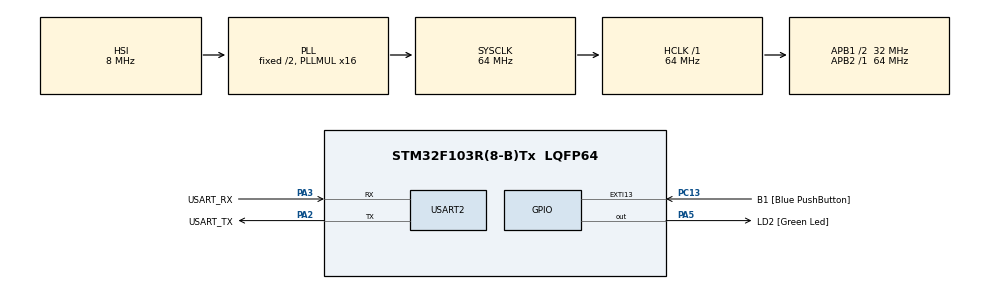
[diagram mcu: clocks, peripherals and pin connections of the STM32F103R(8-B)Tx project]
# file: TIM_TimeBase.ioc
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Mcu.Family=STM32F1
Mcu.Name=STM32F103R(8-B)Tx
Mcu.Package=LQFP64
NVIC.EXTI15_10_IRQn=true\:0\:0\:false\:false\:true\:true\:true\:true
NVIC.PriorityGroup=NVIC_PRIORITYGROUP_4
NVIC.TIM3_IRQn=true\:0\:0\:false\:false\:true\:true\:true\:true
PA13.GPIO_Label=TMS
PA13.Mode=Serial_Wire
PA13.Signal=SYS_JTMS-SWDIO
PA14.GPIO_Label=TCK
PA14.Mode=Serial_Wire
PA14.Signal=SYS_JTCK-SWCLK
PA2.GPIO_Label=USART_TX
PA2.GPIO_Mode=GPIO_MODE_AF_PP
PA2.GPIO_PuPd=GPIO_NOPULL
PA2.GPIO_Speed=GPIO_SPEED_FREQ_LOW
PA2.Mode=Asynchronous
PA2.Signal=USART2_TX
PA3.GPIO_Label=USART_RX
PA3.GPIO_Mode=GPIO_MODE_INPUT
PA3.GPIO_PuPd=GPIO_NOPULL
PA3.Mode=Asynchronous
PA3.Signal=USART2_RX
PA5.GPIO_Label=LD2 [Green Led]
PA5.GPIO_ModeDefaultOutputPP=GPIO_MODE_OUTPUT_PP
PA5.GPIO_PuPd=GPIO_NOPULL
PA5.GPIO_Speed=GPIO_SPEED_FREQ_LOW
PA5.Signal=GPIO_Output
PB3.GPIO_Label=SWO
PB3.Signal=SYS_JTDO-TRACESWO
PC13-TAMPER-RTC.GPIO_Label=B1 [Blue PushButton]
PC13-TAMPER-RTC.GPIO_PuPd=GPIO_NOPULL
PC13-TAMPER-RTC.Signal=GPXTI13
PC14-OSC32_IN.Mode=LSE-External-Oscillator
PC14-OSC32_IN.Signal=RCC_OSC32_IN
PC15-OSC32_OUT.Mode=LSE-External-Oscillator
PC15-OSC32_OUT.Signal=RCC_OSC32_OUT
PD0-OSC_IN.Mode=HSE-External-Clock-Source
PD0-OSC_IN.Signal=RCC_OSC_IN
PD1-OSC_OUT.Mode=HSE-External-Clock-Source
PD1-OSC_OUT.Signal=RCC_OSC_OUT
ProjectManager.HeapSize=0x200
ProjectManager.StackSize=0x400
ProjectManager.TargetToolchain=STM32CubeIDE
RCC.AHBFreq_Value=64000000
RCC.APB1CLKDivider=RCC_HCLK_DIV2
RCC.APB1Freq_Value=32000000
RCC.APB1TimFreq_Value=64000000
RCC.APB2Freq_Value=64000000
RCC.APB2TimFreq_Value=64000000
RCC.HCLKFreq_Value=64000000
RCC.PLLMUL=RCC_PLL_MUL16
RCC.RTCClockSelection=RCC_RTCCLKSOURCE_LSE
RCC.SYSCLKFreq_VALUE=64000000
RCC.SYSCLKSource=RCC_SYSCLKSOURCE_PLLCLK
RCC.USBFreq_Value=64000000
TIM3.AutoReloadPreload=TIM_AUTORELOAD_PRELOAD_ENABLE
TIM3.Period=999
TIM3.Prescaler=63
USART2.VirtualMode=VM_ASYNC
VP_TIM3_VS_ClockSourceINT.Mode=Internal
board=NUCLEO-F103RB

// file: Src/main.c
/* USER CODE BEGIN Header */
/**
 ******************************************************************************
 * @file           : main.c
 * @brief          : Main program body
 ******************************************************************************
 * @attention
 *
 * Copyright (c) 2026 STMicroelectronics.
 * All rights reserved.
 *
 * This software is licensed under terms that can be found in the LICENSE file
 * in the root directory of this software component.
 * If no LICENSE file comes with this software, it is provided AS-IS.
 *
 ******************************************************************************
 */
/* USER CODE END Header */
#include "main.h"

/* USER CODE BEGIN Includes */
#include <stdio.h>
/* USER CODE END Includes */

TIM_HandleTypeDef htim3;

UART_HandleTypeDef huart2;

/* USER CODE BEGIN PV */
volatile int gTimerCnt;          /* 1ms 업데이트 인터럽트 횟수 (0~999) */
volatile uint32_t gSeconds;      /* 경과 시간 [s] - 콜백에서 1초마다 증가 */
volatile uint8_t gSecondFlag;    /* 1초 경과 알림 플래그: 콜백에서 set, main 루프에서 clear */
/* USER CODE END PV */

void SystemClock_Config(void);
static void MX_GPIO_Init(void);
static void MX_USART2_UART_Init(void);
static void MX_TIM3_Init(void);

/* USER CODE BEGIN 0 */
/*
 * printf 리타깃 (HAL 계층)
 *   printf -> newlib _write (syscalls.c) -> __io_putchar(ch) -> HAL_UART_Transmit
 *   USART2(PA2 TX, 115200 8N1)는 ST-LINK 가상 COM 포트로 연결되어 PC 터미널에 출력된다.
 *   HAL_UART_Transmit 은 USART2_SR.TXE 를 폴링하며 USART2_DR 에 1바이트씩 쓰는 블로킹 함수이다.
 *   '\n' 앞에 '\r' 을 추가 전송해 터미널에서 줄 바꿈이 맞게 보이게 한다.
 */
int __io_putchar(int ch) {
	if (ch == '\n') {
		uint8_t cr = '\r';
		HAL_UART_Transmit(&huart2, &cr, 1, HAL_MAX_DELAY);
	}
	HAL_UART_Transmit(&huart2, (uint8_t*) &ch, 1, HAL_MAX_DELAY);
	return ch;
}
/* USER CODE END 0 */

int main(void)
{

  /* MCU Configuration--------------------------------------------------------*/

  /* Reset of all peripherals, Initializes the Flash interface and the Systick. */
  HAL_Init();

  /* Configure the system clock */
  SystemClock_Config();

  /* Initialize all configured peripherals */
  MX_GPIO_Init();
  MX_USART2_UART_Init();
  MX_TIM3_Init();
  /* USER CODE BEGIN 2 */
	printf("TIM3 TimeBase start (1ms update IRQ, print every 1s)\n");

	/* TIM3_DIER.UIE = 1 (업데이트 인터럽트 허용), TIM3_CR1.CEN = 1 (카운터 시작) */
	if (HAL_TIM_Base_Start_IT(&htim3) != HAL_OK) {
		Error_Handler();
	}
  /* USER CODE END 2 */

  /* Infinite loop */
	while (1) {

    /* USER CODE BEGIN 3 */
		/*
		 * 1초 경과 출력 (main 루프 문맥)
		 *   printf 는 UART 블로킹 송신이라 수 ms 가 걸리므로 ISR/콜백 안에서 부르지 않는다.
		 *   콜백은 gSecondFlag 만 세우고, 실제 출력은 여기서 처리한다.
		 */
		if (gSecondFlag) {
			gSecondFlag = 0;
			printf("[%lu s] LD2 toggle\n", (unsigned long) gSeconds);
		}
	}
  /* USER CODE END 3 */
}

void SystemClock_Config(void)
{
  RCC_OscInitTypeDef RCC_OscInitStruct = {0};
  RCC_ClkInitTypeDef RCC_ClkInitStruct = {0};

  /** Initializes the RCC Oscillators according to the specified parameters
  * in the RCC_OscInitTypeDef structure.
  */
  RCC_OscInitStruct.OscillatorType = RCC_OSCILLATORTYPE_HSI;
  RCC_OscInitStruct.HSIState = RCC_HSI_ON;
  RCC_OscInitStruct.HSICalibrationValue = RCC_HSICALIBRATION_DEFAULT;
  RCC_OscInitStruct.PLL.PLLState = RCC_PLL_ON;
  RCC_OscInitStruct.PLL.PLLSource = RCC_PLLSOURCE_HSI_DIV2;
  RCC_OscInitStruct.PLL.PLLMUL = RCC_PLL_MUL16;
  if (HAL_RCC_OscConfig(&RCC_OscInitStruct) != HAL_OK)
  {
    Error_Handler();
  }

  /** Initializes the CPU, AHB and APB buses clocks
  */
  RCC_ClkInitStruct.ClockType = RCC_CLOCKTYPE_HCLK|RCC_CLOCKTYPE_SYSCLK
                              |RCC_CLOCKTYPE_PCLK1|RCC_CLOCKTYPE_PCLK2;
  RCC_ClkInitStruct.SYSCLKSource = RCC_SYSCLKSOURCE_PLLCLK;
  RCC_ClkInitStruct.AHBCLKDivider = RCC_SYSCLK_DIV1;
  RCC_ClkInitStruct.APB1CLKDivider = RCC_HCLK_DIV2;
  RCC_ClkInitStruct.APB2CLKDivider = RCC_HCLK_DIV1;

  if (HAL_RCC_ClockConfig(&RCC_ClkInitStruct, FLASH_LATENCY_2) != HAL_OK)
  {
    Error_Handler();
  }
}

static void MX_TIM3_Init(void)
{

  TIM_ClockConfigTypeDef sClockSourceConfig = {0};
  TIM_MasterConfigTypeDef sMasterConfig = {0};

  htim3.Instance = TIM3;
  htim3.Init.Prescaler = 63;
  htim3.Init.CounterMode = TIM_COUNTERMODE_UP;
  htim3.Init.Period = 999;
  htim3.Init.ClockDivision = TIM_CLOCKDIVISION_DIV1;
  htim3.Init.AutoReloadPreload = TIM_AUTORELOAD_PRELOAD_ENABLE;
  if (HAL_TIM_Base_Init(&htim3) != HAL_OK)
  {
    Error_Handler();
  }
  sClockSourceConfig.ClockSource = TIM_CLOCKSOURCE_INTERNAL;
  if (HAL_TIM_ConfigClockSource(&htim3, &sClockSourceConfig) != HAL_OK)
  {
    Error_Handler();
  }
  sMasterConfig.MasterOutputTrigger = TIM_TRGO_RESET;
  sMasterConfig.MasterSlaveMode = TIM_MASTERSLAVEMODE_DISABLE;
  if (HAL_TIMEx_MasterConfigSynchronization(&htim3, &sMasterConfig) != HAL_OK)
  {
    Error_Handler();
  }

}

static void MX_USART2_UART_Init(void)
{

  huart2.Instance = USART2;
  huart2.Init.BaudRate = 115200;
  huart2.Init.WordLength = UART_WORDLENGTH_8B;
  huart2.Init.StopBits = UART_STOPBITS_1;
  huart2.Init.Parity = UART_PARITY_NONE;
  huart2.Init.Mode = UART_MODE_TX_RX;
  huart2.Init.HwFlowCtl = UART_HWCONTROL_NONE;
  huart2.Init.OverSampling = UART_OVERSAMPLING_16;
  if (HAL_UART_Init(&huart2) != HAL_OK)
  {
    Error_Handler();
  }

}

static void MX_GPIO_Init(void)
{
  GPIO_InitTypeDef GPIO_InitStruct = {0};

  /* GPIO Ports Clock Enable */
  __HAL_RCC_GPIOC_CLK_ENABLE();
  __HAL_RCC_GPIOD_CLK_ENABLE();
  __HAL_RCC_GPIOA_CLK_ENABLE();
  __HAL_RCC_GPIOB_CLK_ENABLE();

  /*Configure GPIO pin Output Level */
  HAL_GPIO_WritePin(LD2_GPIO_Port, LD2_Pin, GPIO_PIN_RESET);

  /*Configure GPIO pin : B1_Pin */
  GPIO_InitStruct.Pin = B1_Pin;
  GPIO_InitStruct.Mode = GPIO_MODE_IT_RISING;
  GPIO_InitStruct.Pull = GPIO_NOPULL;
  HAL_GPIO_Init(B1_GPIO_Port, &GPIO_InitStruct);

  /*Configure GPIO pin : LD2_Pin */
  GPIO_InitStruct.Pin = LD2_Pin;
  GPIO_InitStruct.Mode = GPIO_MODE_OUTPUT_PP;
  GPIO_InitStruct.Pull = GPIO_NOPULL;
  GPIO_InitStruct.Speed = GPIO_SPEED_FREQ_LOW;
  HAL_GPIO_Init(LD2_GPIO_Port, &GPIO_InitStruct);

  /* EXTI interrupt init*/
  HAL_NVIC_SetPriority(EXTI15_10_IRQn, 0, 0);
  HAL_NVIC_EnableIRQ(EXTI15_10_IRQn);

}

/* USER CODE BEGIN 4 */
/*
 * HAL 콜백 (ISR 아님)
 *   진짜 ISR 은 stm32f1xx_it.c 의 TIM3_IRQHandler 이며, 그 안의 HAL_TIM_IRQHandler() 가
 *   TIM3_SR.UIF 를 확인/클리어한 뒤 이 콜백을 호출한다. ISR 문맥이므로 짧게 끝낸다.
 *   1ms 마다 호출 -> 1000회(=1초)마다 LD2 토글 + main 루프에 출력 요청 플래그 설정.
 */
void HAL_TIM_PeriodElapsedCallback(TIM_HandleTypeDef *htim) {
	if (htim->Instance != TIM3) {
		return;
	}
	gTimerCnt++;
	if (gTimerCnt == 1000) {
		gTimerCnt = 0;
		HAL_GPIO_TogglePin(LD2_GPIO_Port, LD2_Pin);
		gSeconds++;
		gSecondFlag = 1;
	}
}
/* USER CODE END 4 */

void Error_Handler(void)
{
	__disable_irq();
	while (1) {
	}
}
